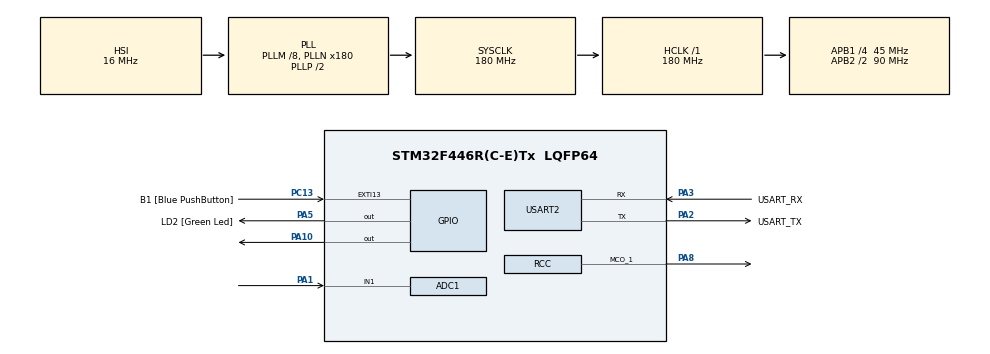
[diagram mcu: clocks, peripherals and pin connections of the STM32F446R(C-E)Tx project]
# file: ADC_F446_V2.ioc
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Mcu.Family=STM32F4
PH0-OSC_IN.Signal=RCC_OSC_IN
RCC.CortexFreq_Value=180000000
TIM14.AutoReloadPreload=TIM_AUTORELOAD_PRELOAD_ENABLE
ADC1.ContinuousConvMode=ENABLE
PA14.GPIO_Label=TCK
PC13.GPIO_Label=B1 [Blue PushButton]
RCC.SYSCLKSource=RCC_SYSCLKSOURCE_PLLCLK
ProjectManager.StackSize=0x400
RCC.HCLKFreq_Value=180000000
RCC.APB2TimFreq_Value=180000000
Dma.ADC1.0.Direction=DMA_PERIPH_TO_MEMORY
NVIC.DMA2_Stream0_IRQn=true\:0\:0\:false\:false\:true\:false\:true
Dma.ADC1.0.MemDataAlignment=DMA_MDATAALIGN_HALFWORD
RCC.AHBFreq_Value=180000000
PH0-OSC_IN.Mode=HSE-External-Oscillator
RCC.HSE_VALUE=8000000
NVIC.TIM8_TRG_COM_TIM14_IRQn=true\:0\:0\:false\:false\:true\:true\:true
TIM14.Period=10-1
PC14-OSC32_IN.Mode=LSE-External-Oscillator
PA14.Mode=Serial_Wire
Dma.ADC1.0.PeriphInc=DMA_PINC_DISABLE
PA8.Signal=RCC_MCO_1
RCC.FLatency-AdvancedSettings=FLASH_LATENCY_5
PH1-OSC_OUT.Mode=HSE-External-Oscillator
Mcu.Package=LQFP64
USART2.VirtualMode=VM_ASYNC
PA2.GPIO_Label=USART_TX
PA10.Signal=GPIO_Output
RCC.APB2CLKDivider=RCC_HCLK_DIV2
SH.ADCx_IN1.0=ADC1_IN1,IN1
RCC.APB1TimFreq_Value=90000000
Dma.ADC1.0.FIFOMode=DMA_FIFOMODE_DISABLE
VP_TIM14_VS_ClockSourceINT.Mode=Enable_Timer
Dma.Request0=ADC1
PA3.Signal=USART2_RX
PB3.GPIO_Label=SWO
PC15-OSC32_OUT.Mode=LSE-External-Oscillator
Dma.ADC1.0.Instance=DMA2_Stream0
PC13.Signal=GPXTI13
RCC.APB1CLKDivider=RCC_HCLK_DIV4
PC14-OSC32_IN.Signal=RCC_OSC32_IN
PA13.Signal=SYS_JTMS-SWDIO
PA3.Mode=Asynchronous
Dma.ADC1.0.PeriphDataAlignment=DMA_PDATAALIGN_HALFWORD
ProjectManager.TargetToolchain=STM32CubeIDE
Dma.ADC1.0.Mode=DMA_NORMAL
Dma.ADC1.0.Priority=DMA_PRIORITY_LOW
ADC1.Channel-1\#ChannelRegularConversion=ADC_CHANNEL_1
RCC.USBFreq_Value=180000000
PC15-OSC32_OUT.Signal=RCC_OSC32_OUT
PA1.Signal=ADCx_IN1
PA5.Signal=GPIO_Output
board=NUCLEO-F446RE
RCC.VCOOutputFreq_Value=360000000
RCC.APB2Freq_Value=90000000
PH1-OSC_OUT.Signal=RCC_OSC_OUT
ADC1.DMAContinuousRequests=ENABLE
PA13.Mode=Serial_Wire
Mcu.Name=STM32F446R(C-E)Tx
TIM14.Prescaler=90-1
PA13.GPIO_Label=TMS
PA2.Signal=USART2_TX
RCC.48MHZClocksFreq_Value=84000000
PB3.Signal=SYS_JTDO-SWO
ADC1.SamplingTime-1\#ChannelRegularConversion=ADC_SAMPLETIME_3CYCLES
RCC.SYSCLKFreq_VALUE=180000000
ADC1.master=1
PA5.GPIO_Label=LD2 [Green Led]
PC13.GPIO_ModeDefaultEXTI=GPIO_MODE_IT_FALLING
ADC1.Rank-1\#ChannelRegularConversion=1
PA14.Signal=SYS_JTCK-SWCLK
Dma.ADC1.0.MemInc=DMA_MINC_ENABLE
ProjectManager.HeapSize=0x200
RCC.HSI_VALUE=16000000
NVIC.PriorityGroup=NVIC_PRIORITYGROUP_0
ADC1.NbrOfConversionFlag=1
RCC.PLLM=8
RCC.PLLN=180
PA2.Mode=Asynchronous
PA8.Mode=Clock-out-1
RCC.APB1Freq_Value=45000000
PA3.GPIO_Label=USART_RX

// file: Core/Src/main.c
/* USER CODE BEGIN Header */
/**
  ******************************************************************************
  * @file           : main.c
  * @brief          : Main program body
  ******************************************************************************
  * @attention
  *
  * <h2><center>&copy; Copyright (c) 2021 STMicroelectronics.
  * All rights reserved.</center></h2>
  *
  * This software component is licensed by ST under BSD 3-Clause license,
  * the "License"; You may not use this file except in compliance with the
  * License. You may obtain a copy of the License at:
  *                        opensource.org/licenses/BSD-3-Clause
  *
  ******************************************************************************
  */
/* USER CODE END Header */
#include "main.h"

/* USER CODE BEGIN Includes */
#include <string.h>
#include <stdio.h>
/* USER CODE END Includes */

/* USER CODE BEGIN PTD */
#define ADC_BUF_LEN 1 //num_samples per iteration
#define NUM_PASSES 1 // Number of averages per iteration
#define NUM_FREQS 10000
#define FREQ_PASS 100
#define mode 2 // 1 = print averages, 2 = print frequencies
#define LASER_DELAY 1
#define COOLDOWN 10
#define WARMUP 0
#define mod 1
/* USER CODE END PTD */

ADC_HandleTypeDef hadc1;
DMA_HandleTypeDef hdma_adc1;

TIM_HandleTypeDef htim14;

UART_HandleTypeDef huart2;

/* USER CODE BEGIN PV */
uint16_t adc_buf[ADC_BUF_LEN];
float avgs[ADC_BUF_LEN];
float freqs[NUM_FREQS];
float avg_freqs[NUM_FREQS];
int freq = 0;
volatile int state = 0;
volatile int cooldown_count = 0;
volatile int delay = 0;
int pass = 0;
int num_freq = 0;
/* USER CODE END PV */

void SystemClock_Config(void);
static void MX_GPIO_Init(void);
static void MX_DMA_Init(void);
static void MX_USART2_UART_Init(void);
static void MX_ADC1_Init(void);
static void MX_TIM14_Init(void);
/* USER CODE BEGIN PFP */
void delay_us(uint32_t);
/* USER CODE END PFP */

int main(void)
{
  /* USER CODE BEGIN 1 */
  char msg[16];
//  char test_msg[16];
  uint32_t time1 = 0;
  /* USER CODE END 1 */

  /* MCU Configuration--------------------------------------------------------*/

  /* Reset of all peripherals, Initializes the Flash interface and the Systick. */
  HAL_Init();

  /* Configure the system clock */
  SystemClock_Config();

  /* Initialize all configured peripherals */
  MX_GPIO_Init();
  MX_DMA_Init();
  MX_USART2_UART_Init();
  MX_ADC1_Init();
  MX_TIM14_Init();
  /* USER CODE BEGIN 2 */
  //HAL_GPIO_WritePin(GPIOA, GPIO_PIN_10, GPIO_PIN_RESET);
  //HAL_Delay(WARMUP);
  //HAL_GPIO_WritePin(GPIOA, GPIO_PIN_10, GPIO_PIN_SET);
  //HAL_Delay(COOLDOWN);
  HAL_TIM_Base_Start_IT(&htim14);
  HAL_GPIO_WritePin(GPIOA, LD2_Pin, GPIO_PIN_SET);
  HAL_GPIO_WritePin(GPIOA, GPIO_PIN_10, GPIO_PIN_RESET);
  delay = 1;
  while (delay == 1) {

  }
  //HAL_ADC_Start_DMA(&hadc1, (uint32_t*)adc_buf, ADC_BUF_LEN);
  state = 1;

  // Reset timer somehow

  /* USER CODE END 2 */

  /* Infinite loop */
  /* USER CODE BEGIN WHILE */
  while (1)
    {
  	if (state == 1) {
  		HAL_GPIO_WritePin(GPIOA, GPIO_PIN_10, GPIO_PIN_SET);
  		//delay_us(COOLDOWN);
  		delay = 2;
  		__HAL_TIM_SET_COUNTER(&htim14, 0);
//  		time1 = (uint32_t) __HAL_TIM_GET_COUNTER(&htim14);
  		while (delay == 2) {

  		}
//  		time1 = (uint32_t) __HAL_TIM_GET_COUNTER(&htim14) - time1;
//  		sprintf(msg, "%f\n", time1);
//  		HAL_UART_Transmit(&huart2, (uint8_t*)msg, strlen(msg), HAL_MAX_DELAY);
  		HAL_TIM_Base_Stop_IT(&htim14);
  		for (int j = 0; j < ADC_BUF_LEN; j++) {
  			avgs[j] = (avgs[j] * pass + adc_buf[j]) / (pass + 1);
  		}
  		pass += 1;
  		if (pass == NUM_PASSES) {
  			state = 2;
  		} else {
  			state = 0;
  			HAL_GPIO_WritePin(GPIOA, GPIO_PIN_10, GPIO_PIN_RESET);
  			//delay_us(LASER_DELAY);
  			delay = 1;
  			HAL_TIM_Base_Start_IT(&htim14);
  			while (delay == 1) {

  			}
  			//HAL_ADC_Start_DMA(&hadc1, (uint32_t*)adc_buf, ADC_BUF_LEN);
  			state = 1;

  		}
  	}
  	if (state == 2) {
  		if (mode == 1) {
  			float val = 0.0;
  			for (int j = 0; j < ADC_BUF_LEN; j+=1){
  				val = 3.3 * avgs[j] / 4096;
  				sprintf(msg, "%f\n", val);
  			  	HAL_UART_Transmit(&huart2, (uint8_t*)msg, strlen(msg), HAL_MAX_DELAY);
  			}
  			while(1) {

  			}
  		} else {
  			HAL_GPIO_TogglePin(GPIOA, LD2_Pin);
  			float average = 0;
  			int total = 0;
  			for (int j = 0; j < ADC_BUF_LEN; j++) {
  				total += avgs[j];
  			}
  			average = 3.3 * (total / ADC_BUF_LEN) / 4096;
  			freqs[freq] = average;
  			freq += 1;
  			if (freq == NUM_FREQS) {
  				state = 3;
  			} else {
  				pass = 0;
  				state = 0;
  				if (freq % mod == 0) {
  					HAL_GPIO_WritePin(GPIOA, GPIO_PIN_10, GPIO_PIN_RESET);
  				}else {
  					HAL_GPIO_WritePin(GPIOA, GPIO_PIN_10, GPIO_PIN_SET);
  				}
  				//delay_us(LASER_DELAY);
  				delay = 1;
  				//__HAL_TIM_SET_COUNTER(&htim14, 0);
  				HAL_TIM_Base_Start_IT(&htim14);
  				while (delay == 1) {

  				}
  				//HAL_ADC_Start_DMA(&hadc1, (uint32_t*)adc_buf, ADC_BUF_LEN);
  				state = 1;
  			}
  		}

  	}
  	if (state == 3) {
  		for (int j = 0; j < NUM_FREQS; j++) {
  			avg_freqs[j] = (avg_freqs[j] * num_freq + freqs[j]) / (num_freq + 1);
  		}
  		num_freq += 1;
  		if (num_freq == FREQ_PASS) {
  			state = 4;
  		}else {
  			pass = 0;
  			state = 0;
  			freq = 0;
  			HAL_GPIO_WritePin(GPIOA, GPIO_PIN_10, GPIO_PIN_RESET);
  			// laser delay
  			delay = 1;
  			//__HAL_TIM_SET_COUNTER(&htim14, 0);
  			HAL_TIM_Base_Start_IT(&htim14);
  			while (delay == 1) {

  			}
  			//HAL_ADC_Start_DMA(&hadc1, (uint32_t*)adc_buf, ADC_BUF_LEN);
  			state = 1;
  		}
  	}
  	if (state == 4) {
  		for (int j = 0; j < NUM_FREQS; j++) {
  			sprintf(msg, "%f\n", avg_freqs[j]);
  			HAL_UART_Transmit(&huart2, (uint8_t*)msg, strlen(msg), HAL_MAX_DELAY);
  		}
  		while (1) {

  		}
  	}
    /* USER CODE END WHILE */

    }
}

void SystemClock_Config(void)
{
  RCC_OscInitTypeDef RCC_OscInitStruct = {0};
  RCC_ClkInitTypeDef RCC_ClkInitStruct = {0};

  /** Configure the main internal regulator output voltage
  */
  __HAL_RCC_PWR_CLK_ENABLE();
  __HAL_PWR_VOLTAGESCALING_CONFIG(PWR_REGULATOR_VOLTAGE_SCALE1);
  /** Initializes the RCC Oscillators according to the specified parameters
  * in the RCC_OscInitTypeDef structure.
  */
  RCC_OscInitStruct.OscillatorType = RCC_OSCILLATORTYPE_HSI;
  RCC_OscInitStruct.HSIState = RCC_HSI_ON;
  RCC_OscInitStruct.HSICalibrationValue = RCC_HSICALIBRATION_DEFAULT;
  RCC_OscInitStruct.PLL.PLLState = RCC_PLL_ON;
  RCC_OscInitStruct.PLL.PLLSource = RCC_PLLSOURCE_HSI;
  RCC_OscInitStruct.PLL.PLLM = 8;
  RCC_OscInitStruct.PLL.PLLN = 180;
  RCC_OscInitStruct.PLL.PLLP = RCC_PLLP_DIV2;
  RCC_OscInitStruct.PLL.PLLQ = 2;
  RCC_OscInitStruct.PLL.PLLR = 2;
  if (HAL_RCC_OscConfig(&RCC_OscInitStruct) != HAL_OK)
  {
    Error_Handler();
  }
  /** Activate the Over-Drive mode
  */
  if (HAL_PWREx_EnableOverDrive() != HAL_OK)
  {
    Error_Handler();
  }
  /** Initializes the CPU, AHB and APB buses clocks
  */
  RCC_ClkInitStruct.ClockType = RCC_CLOCKTYPE_HCLK|RCC_CLOCKTYPE_SYSCLK
                              |RCC_CLOCKTYPE_PCLK1|RCC_CLOCKTYPE_PCLK2;
  RCC_ClkInitStruct.SYSCLKSource = RCC_SYSCLKSOURCE_PLLCLK;
  RCC_ClkInitStruct.AHBCLKDivider = RCC_SYSCLK_DIV1;
  RCC_ClkInitStruct.APB1CLKDivider = RCC_HCLK_DIV4;
  RCC_ClkInitStruct.APB2CLKDivider = RCC_HCLK_DIV2;

  if (HAL_RCC_ClockConfig(&RCC_ClkInitStruct, FLASH_LATENCY_5) != HAL_OK)
  {
    Error_Handler();
  }
  HAL_RCC_MCOConfig(RCC_MCO1, RCC_MCO1SOURCE_HSI, RCC_MCODIV_1);
}

static void MX_ADC1_Init(void)
{

  ADC_ChannelConfTypeDef sConfig = {0};

  /** Configure the global features of the ADC (Clock, Resolution, Data Alignment and number of conversion)
  */
  hadc1.Instance = ADC1;
  hadc1.Init.ClockPrescaler = ADC_CLOCK_SYNC_PCLK_DIV4;
  hadc1.Init.Resolution = ADC_RESOLUTION_12B;
  hadc1.Init.ScanConvMode = DISABLE;
  hadc1.Init.ContinuousConvMode = ENABLE;
  hadc1.Init.DiscontinuousConvMode = DISABLE;
  hadc1.Init.ExternalTrigConvEdge = ADC_EXTERNALTRIGCONVEDGE_NONE;
  hadc1.Init.ExternalTrigConv = ADC_SOFTWARE_START;
  hadc1.Init.DataAlign = ADC_DATAALIGN_RIGHT;
  hadc1.Init.NbrOfConversion = 1;
  hadc1.Init.DMAContinuousRequests = ENABLE;
  hadc1.Init.EOCSelection = ADC_EOC_SINGLE_CONV;
  if (HAL_ADC_Init(&hadc1) != HAL_OK)
  {
    Error_Handler();
  }
  /** Configure for the selected ADC regular channel its corresponding rank in the sequencer and its sample time.
  */
  sConfig.Channel = ADC_CHANNEL_1;
  sConfig.Rank = 1;
  sConfig.SamplingTime = ADC_SAMPLETIME_3CYCLES;
  if (HAL_ADC_ConfigChannel(&hadc1, &sConfig) != HAL_OK)
  {
    Error_Handler();
  }

}

static void MX_TIM14_Init(void)
{

  htim14.Instance = TIM14;
  htim14.Init.Prescaler = 90-1;
  htim14.Init.CounterMode = TIM_COUNTERMODE_UP;
  htim14.Init.Period = 10-1;
  htim14.Init.ClockDivision = TIM_CLOCKDIVISION_DIV1;
  htim14.Init.AutoReloadPreload = TIM_AUTORELOAD_PRELOAD_ENABLE;
  if (HAL_TIM_Base_Init(&htim14) != HAL_OK)
  {
    Error_Handler();
  }

}

static void MX_USART2_UART_Init(void)
{

  huart2.Instance = USART2;
  huart2.Init.BaudRate = 115200;
  huart2.Init.WordLength = UART_WORDLENGTH_8B;
  huart2.Init.StopBits = UART_STOPBITS_1;
  huart2.Init.Parity = UART_PARITY_NONE;
  huart2.Init.Mode = UART_MODE_TX_RX;
  huart2.Init.HwFlowCtl = UART_HWCONTROL_NONE;
  huart2.Init.OverSampling = UART_OVERSAMPLING_16;
  if (HAL_UART_Init(&huart2) != HAL_OK)
  {
    Error_Handler();
  }

}

static void MX_DMA_Init(void)
{

  /* DMA controller clock enable */
  __HAL_RCC_DMA2_CLK_ENABLE();

  /* DMA interrupt init */
  /* DMA2_Stream0_IRQn interrupt configuration */
  HAL_NVIC_SetPriority(DMA2_Stream0_IRQn, 0, 0);
  HAL_NVIC_EnableIRQ(DMA2_Stream0_IRQn);

}

static void MX_GPIO_Init(void)
{
  GPIO_InitTypeDef GPIO_InitStruct = {0};

  /* GPIO Ports Clock Enable */
  __HAL_RCC_GPIOC_CLK_ENABLE();
  __HAL_RCC_GPIOH_CLK_ENABLE();
  __HAL_RCC_GPIOA_CLK_ENABLE();
  __HAL_RCC_GPIOB_CLK_ENABLE();

  /*Configure GPIO pin Output Level */
  HAL_GPIO_WritePin(GPIOA, LD2_Pin|GPIO_PIN_10, GPIO_PIN_RESET);

  /*Configure GPIO pin : B1_Pin */
  GPIO_InitStruct.Pin = B1_Pin;
  GPIO_InitStruct.Mode = GPIO_MODE_IT_FALLING;
  GPIO_InitStruct.Pull = GPIO_NOPULL;
  HAL_GPIO_Init(B1_GPIO_Port, &GPIO_InitStruct);

  /*Configure GPIO pins : LD2_Pin PA10 */
  GPIO_InitStruct.Pin = LD2_Pin|GPIO_PIN_10;
  GPIO_InitStruct.Mode = GPIO_MODE_OUTPUT_PP;
  GPIO_InitStruct.Pull = GPIO_NOPULL;
  GPIO_InitStruct.Speed = GPIO_SPEED_FREQ_LOW;
  HAL_GPIO_Init(GPIOA, &GPIO_InitStruct);

  /*Configure GPIO pin : PA8 */
  GPIO_InitStruct.Pin = GPIO_PIN_8;
  GPIO_InitStruct.Mode = GPIO_MODE_AF_PP;
  GPIO_InitStruct.Pull = GPIO_NOPULL;
  GPIO_InitStruct.Speed = GPIO_SPEED_FREQ_LOW;
  GPIO_InitStruct.Alternate = GPIO_AF0_MCO;
  HAL_GPIO_Init(GPIOA, &GPIO_InitStruct);

}

/* USER CODE BEGIN 4 */
/*
void HAL_ADC_ConvHalfCpltCallback(ADC_HandleTypeDef* hadc) {
	HAL_GPIO_WritePin(LD2_GPIO_Port, LD2_Pin, GPIO_PIN_SET);
}
*/
void HAL_ADC_ConvCpltCallback(ADC_HandleTypeDef* hadc) {
	//HAL_GPIO_WritePin(LD2_GPIO_Port, LD2_Pin, GPIO_PIN_RESET);
	state = 1;
}

void HAL_TIM_PeriodElapsedCallback(TIM_HandleTypeDef* htim) {
	if (delay == 1) {
		//char delay_msg[16];
		//sprintf(delay_msg, "%d\n", -1);
		//HAL_UART_Transmit(&huart2, (uint8_t*)delay_msg, strlen(delay_msg), HAL_MAX_DELAY);
//		HAL_Delay(LASER_DELAY);
		delay = 0;
//		state = next_state;
	}
	if (delay == 2) {
		//char delay_msg[16];
		//sprintf(delay_msg, "%d\n", -2);
		//HAL_UART_Transmit(&huart2, (uint8_t*)delay_msg, strlen(delay_msg), HAL_MAX_DELAY);
//		HAL_Delay(COOLDOWN);
		if (cooldown_count == COOLDOWN - 1) {
			delay = 0;
			cooldown_count = 0;
		} else {
			cooldown_count += 1;
		}
	}
}
/* USER CODE END 4 */

void Error_Handler(void)
{
  __disable_irq();
  while (1)
  {
  }
}

/************************ (C) COPYRIGHT STMicroelectronics *****END OF FILE****/
